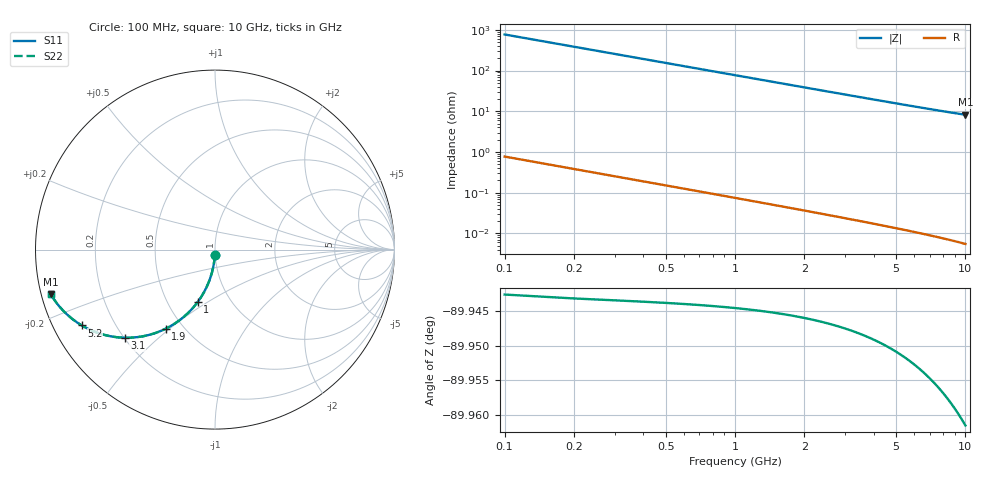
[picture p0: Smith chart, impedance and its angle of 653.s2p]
# Hz S RI R 50.00
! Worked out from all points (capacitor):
!   100 points, 100 MHz to 10 GHz, reference 50 ohm
!   read as one part in shunt: C = 2.06 pF near 100 MHz
!   lowest |Z| = 8.22 ohm at 10 GHz (marker M1)
!   S11 on the Smith chart (normalised r, x): 100 MHz: 1.00, -0.06; 1 GHz: 0.71, -0.45; 1.9 GHz: 0.40, -0.48; 3.1 GHz: 0.20, -0.39; 5.2 GHz: 0.08, -0.26; 10 GHz: 0.03, -0.13
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1e8  -0.000986 -0.0321  0.9988 -0.0327  0.9988 -0.0327  -0.000986 -0.0321
2e8  -0.00416 -0.064  0.9956 -0.0651  0.9956 -0.0651  -0.00416 -0.064
3e8  -0.00937 -0.0956  0.9904 -0.0972  0.9904 -0.0972  -0.00937 -0.0956
4e8  -0.0166 -0.1265  0.9832 -0.1286  0.9832 -0.1286  -0.0166 -0.1265
5e8  -0.0257 -0.1566  0.9741 -0.1593  0.9741 -0.1593  -0.0257 -0.1566
6e8  -0.0366 -0.1858  0.9632 -0.1891  0.9632 -0.1891  -0.0366 -0.1858
7e8  -0.0491 -0.2139  0.9507 -0.2177  0.9507 -0.2177  -0.0491 -0.2139
8e8  -0.0632 -0.2408  0.9366 -0.2452  0.9366 -0.2452  -0.0632 -0.2408
1e9  -0.0953 -0.2906  0.9044 -0.296  0.9044 -0.296  -0.0953 -0.2906
1.2e9  -0.1318 -0.3346  0.868 -0.3411  0.868 -0.3411  -0.1318 -0.3346
1.4e9  -0.1712 -0.3725  0.8286 -0.3801  0.8286 -0.3801  -0.1712 -0.3725
1.8e9  -0.2545 -0.4303  0.7452 -0.4401  0.7452 -0.4401  -0.2545 -0.4303
1.9e9  -0.2756 -0.4412  0.7241 -0.4515  0.7241 -0.4515  -0.2756 -0.4412
2.5e9  -0.3973 -0.482  0.6024 -0.4957  0.6024 -0.4957  -0.3973 -0.482
3.1e9  -0.5036 -0.491  0.496 -0.5079  0.496 -0.5079  -0.5036 -0.491
3.4e9  -0.5498 -0.4877  0.4498 -0.5063  0.4498 -0.5063  -0.5498 -0.4877
4.2e9  -0.6513 -0.4644  0.3482 -0.4875  0.3482 -0.4875  -0.6513 -0.4644
5.1e9  -0.7343 -0.427  0.2651 -0.4551  0.2651 -0.4551  -0.7343 -0.427
5.2e9  -0.7419 -0.4226  0.2575 -0.4512  0.2575 -0.4512  -0.7419 -0.4226
6.7e9  -0.8278 -0.358  0.1713 -0.3953  0.1713 -0.3953  -0.8278 -0.358
8.4e9  -0.8841 -0.2951  0.1145 -0.3423  0.1145 -0.3423  -0.8841 -0.2951
1e10  -0.9162 -0.2467  0.082 -0.3036  0.082 -0.3036  -0.9162 -0.2467
